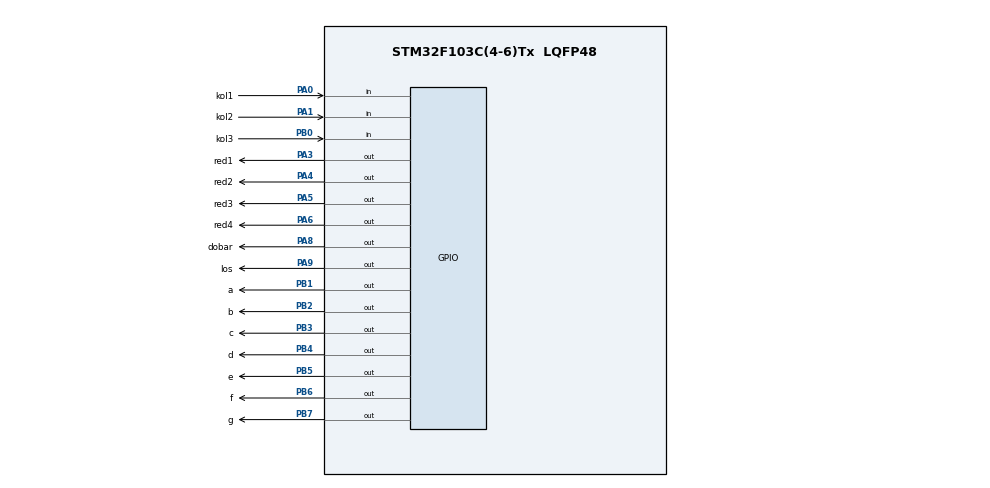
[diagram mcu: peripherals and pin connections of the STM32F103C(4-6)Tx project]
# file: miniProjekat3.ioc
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Mcu.Family=STM32F1
Mcu.Name=STM32F103C(4-6)Tx
Mcu.Package=LQFP48
NVIC.PriorityGroup=NVIC_PRIORITYGROUP_4
PA0-WKUP.GPIO_Label=kol1
PA0-WKUP.Signal=GPIO_Input
PA1.GPIO_Label=kol2
PA1.Signal=GPIO_Input
PA3.GPIO_Label=red1
PA3.Signal=GPIO_Output
PA4.GPIO_Label=red2
PA4.Signal=GPIO_Output
PA5.GPIO_Label=red3
PA5.Signal=GPIO_Output
PA6.GPIO_Label=red4
PA6.Signal=GPIO_Output
PA8.GPIO_Label=dobar
PA8.Signal=GPIO_Output
PA9.GPIO_Label=los
PA9.Signal=GPIO_Output
PB0.GPIO_Label=kol3
PB0.Signal=GPIO_Input
PB1.GPIO_Label=a
PB1.Signal=GPIO_Output
PB2.GPIO_Label=b
PB2.Signal=GPIO_Output
PB3.GPIO_Label=c
PB3.Signal=GPIO_Output
PB4.GPIO_Label=d
PB4.Signal=GPIO_Output
PB5.GPIO_Label=e
PB5.Signal=GPIO_Output
PB6.GPIO_Label=f
PB6.Signal=GPIO_Output
PB7.GPIO_Label=g
PB7.Signal=GPIO_Output
ProjectManager.HeapSize=0x200
ProjectManager.StackSize=0x400
ProjectManager.TargetToolchain=STM32CubeIDE
RCC.APB1Freq_Value=8000000
RCC.APB2Freq_Value=8000000
board=custom

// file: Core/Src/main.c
/* USER CODE BEGIN Header */
/**
  ******************************************************************************
  * @file           : main.c
  * @brief          : Main program body
  ******************************************************************************
  * @attention
  *
  * Copyright (c) 2022 STMicroelectronics.
  * All rights reserved.
  *
  * This software is licensed under terms that can be found in the LICENSE file
  * in the root directory of this software component.
  * If no LICENSE file comes with this software, it is provided AS-IS.
  *
  ******************************************************************************
  */
/* USER CODE END Header */
#include "main.h"
#include "string.h"

void SystemClock_Config(void);
static void MX_GPIO_Init(void);

/* USER CODE BEGIN 0 */

void proveriBroj(char *ispravanBroj, char **unetiBroj)
{

	if(strlen(*unetiBroj) == 2)
	{
		if(strcmp(ispravanBroj,*unetiBroj) == 0)
		{
			HAL_GPIO_WritePin(GPIOA, dobar_Pin, 0);
		}
		else
		{
			HAL_GPIO_WritePin(GPIOA, los_Pin, 0);
		}
	}

	else if (strlen(*unetiBroj) > 2)
	{
		strcpy(*unetiBroj,"");
		GPIOB->ODR = 0xFE;
		HAL_GPIO_WritePin(GPIOA, dobar_Pin, 1);
		HAL_GPIO_WritePin(GPIOA, los_Pin, 1);
		return;
	}
	else
	{
		return;
	}
}

void proveri_unos (char *ispravanBroj, char **unetiBroj)
{
	/* Make ROW 1 HIGH and all other ROWs LOW */
	HAL_GPIO_WritePin (GPIOA, red1_Pin, GPIO_PIN_SET);
	HAL_GPIO_WritePin (GPIOA, red2_Pin, GPIO_PIN_RESET);
	HAL_GPIO_WritePin (GPIOA, red3_Pin, GPIO_PIN_RESET);
	HAL_GPIO_WritePin (GPIOA, red4_Pin, GPIO_PIN_RESET);

	if ((HAL_GPIO_ReadPin (GPIOA, kol1_Pin)))   // if the Col 1 is low
	{
		//1
		GPIOB->ODR = ~0x0C;
		while(HAL_GPIO_ReadPin (GPIOA, kol1_Pin));
		strcat(*unetiBroj,"1");
		proveriBroj(ispravanBroj, unetiBroj);
		return;
	}

	if ((HAL_GPIO_ReadPin (GPIOA, kol2_Pin)))   // if the Col 2 is low
	{
		//2
		HAL_GPIO_WritePin (GPIOA, red1_Pin, GPIO_PIN_RESET);
		HAL_GPIO_WritePin (GPIOA, red2_Pin, GPIO_PIN_SET);
		GPIOB->ODR = ~0xB6;
		while(HAL_GPIO_ReadPin (GPIOA, kol2_Pin));
		strcat(*unetiBroj,"2");
		proveriBroj(ispravanBroj, unetiBroj);
		HAL_GPIO_WritePin (GPIOA, red1_Pin, GPIO_PIN_SET);
		HAL_GPIO_WritePin (GPIOA, red2_Pin, GPIO_PIN_RESET);
		return;
	}

	if ((HAL_GPIO_ReadPin (GPIOB, kol3_Pin)))   // if the Col 3 is low
	{
		//3
		GPIOB->ODR = ~0x9E;
		while(HAL_GPIO_ReadPin (GPIOB, kol3_Pin));
		strcat(*unetiBroj,"3");
		proveriBroj(ispravanBroj, unetiBroj);
		return;
	}

	/* Make ROW 2 LOW and all other ROWs HIGH */
	HAL_GPIO_WritePin (GPIOA, red1_Pin, GPIO_PIN_RESET);  //Pull the R1 low
	HAL_GPIO_WritePin (GPIOA, red2_Pin, GPIO_PIN_SET);  // Pull the R2 High
	HAL_GPIO_WritePin (GPIOA, red3_Pin, GPIO_PIN_RESET);  // Pull the R3 High
	HAL_GPIO_WritePin (GPIOA, red4_Pin, GPIO_PIN_RESET);  // Pull the R4 High

	if ((HAL_GPIO_ReadPin (GPIOA, kol1_Pin)))   // if the Col 1 is low
	{
		//4
		GPIOB->ODR = ~0xCC;
		while(HAL_GPIO_ReadPin (GPIOA, kol1_Pin));
		strcat(*unetiBroj,"4");
		proveriBroj(ispravanBroj, unetiBroj);
		return;

	}

	if ((HAL_GPIO_ReadPin (GPIOA, kol2_Pin)))   // if the Col 2 is low
	{
		GPIOB->ODR = ~0xDA;
		while(HAL_GPIO_ReadPin (GPIOA, kol2_Pin));
		strcat(*unetiBroj,"5");
		proveriBroj(ispravanBroj, unetiBroj);
		return;
	}

	if ((HAL_GPIO_ReadPin (GPIOB, kol3_Pin)))   // if the Col 3 is low
	{
		//6
		GPIOB->ODR = ~0xFA;
		while(HAL_GPIO_ReadPin (GPIOB, kol3_Pin));
		strcat(*unetiBroj,"6");
		proveriBroj(ispravanBroj, unetiBroj);
		return;
	}

	/* Make ROW 3 LOW and all other ROWs HIGH */
	HAL_GPIO_WritePin (GPIOA, red1_Pin, GPIO_PIN_RESET);  //Pull the R1 low
	HAL_GPIO_WritePin (GPIOA, red2_Pin, GPIO_PIN_RESET);  // Pull the R2 High
	HAL_GPIO_WritePin (GPIOA, red3_Pin, GPIO_PIN_SET);  // Pull the R3 High
	HAL_GPIO_WritePin (GPIOA, red4_Pin, GPIO_PIN_RESET);  // Pull the R4 High

	if ((HAL_GPIO_ReadPin (GPIOA, kol1_Pin)))   // if the Col 1 is low
	{
		//7
		GPIOB->ODR = ~0x0E;
		while(HAL_GPIO_ReadPin (GPIOA, kol1_Pin));
		strcat(*unetiBroj,"7");
		proveriBroj(ispravanBroj, unetiBroj);
		return;
	}

	if ((HAL_GPIO_ReadPin (GPIOA, kol2_Pin)))   // if the Col 2 is low
	{
		//8
		GPIOB->ODR = ~0xFD;
		while(HAL_GPIO_ReadPin (GPIOA, kol2_Pin));
		strcat(*unetiBroj,"8");
		proveriBroj(ispravanBroj, unetiBroj);
		return;
	}

	if ((HAL_GPIO_ReadPin (GPIOB, kol3_Pin)))   // if the Col 3 is low
	{
		//9
		GPIOB->ODR = ~0xDE;
		while(HAL_GPIO_ReadPin (GPIOB, kol3_Pin));
		strcat(*unetiBroj,"9");
		proveriBroj(ispravanBroj, unetiBroj);
		return;
	}

	/* Make ROW 4 LOW and all other ROWs HIGH */
	HAL_GPIO_WritePin (GPIOA, red1_Pin, GPIO_PIN_RESET);  //Pull the R1 low
	HAL_GPIO_WritePin (GPIOA, red2_Pin, GPIO_PIN_RESET);  // Pull the R2 High
	HAL_GPIO_WritePin (GPIOA, red3_Pin, GPIO_PIN_RESET);  // Pull the R3 High
	HAL_GPIO_WritePin (GPIOA, red4_Pin, GPIO_PIN_SET);  // Pull the R4 High

	if ((HAL_GPIO_ReadPin (GPIOA, kol1_Pin)))   // if the Col 1 is low
	{
		while(HAL_GPIO_ReadPin (GPIOA, kol1_Pin));
		return;
	}

	if ((HAL_GPIO_ReadPin (GPIOA, kol2_Pin)))   // if the Col 2 is low
	{
		while(HAL_GPIO_ReadPin (GPIOA, kol2_Pin));
		return;
	}

	if ((HAL_GPIO_ReadPin (GPIOB, kol3_Pin)))   // if the Col 3 is low
	{

		while(HAL_GPIO_ReadPin (GPIOB, kol3_Pin));
		return;
	}

}

/* USER CODE END 0 */

int main(void)
{

  /* MCU Configuration--------------------------------------------------------*/

  /* Reset of all peripherals, Initializes the Flash interface and the Systick. */
  HAL_Init();

  /* Configure the system clock */
  SystemClock_Config();

  /* Initialize all configured peripherals */
  MX_GPIO_Init();
  /* USER CODE BEGIN 2 */
  char ispravanBroj[2] = "73";
  char *unetiBroj;

  /* USER CODE END 2 */

  /* Infinite loop */
  while (1)
  {
	  proveri_unos(ispravanBroj, &unetiBroj);
  }
}
void SystemClock_Config(void)
{
  RCC_OscInitTypeDef RCC_OscInitStruct = {0};
  RCC_ClkInitTypeDef RCC_ClkInitStruct = {0};

  /** Initializes the RCC Oscillators according to the specified parameters
  * in the RCC_OscInitTypeDef structure.
  */
  RCC_OscInitStruct.OscillatorType = RCC_OSCILLATORTYPE_HSI;
  RCC_OscInitStruct.HSIState = RCC_HSI_ON;
  RCC_OscInitStruct.HSICalibrationValue = RCC_HSICALIBRATION_DEFAULT;
  RCC_OscInitStruct.PLL.PLLState = RCC_PLL_NONE;
  if (HAL_RCC_OscConfig(&RCC_OscInitStruct) != HAL_OK)
  {
    Error_Handler();
  }

  /** Initializes the CPU, AHB and APB buses clocks
  */
  RCC_ClkInitStruct.ClockType = RCC_CLOCKTYPE_HCLK|RCC_CLOCKTYPE_SYSCLK
                              |RCC_CLOCKTYPE_PCLK1|RCC_CLOCKTYPE_PCLK2;
  RCC_ClkInitStruct.SYSCLKSource = RCC_SYSCLKSOURCE_HSI;
  RCC_ClkInitStruct.AHBCLKDivider = RCC_SYSCLK_DIV1;
  RCC_ClkInitStruct.APB1CLKDivider = RCC_HCLK_DIV1;
  RCC_ClkInitStruct.APB2CLKDivider = RCC_HCLK_DIV1;

  if (HAL_RCC_ClockConfig(&RCC_ClkInitStruct, FLASH_LATENCY_0) != HAL_OK)
  {
    Error_Handler();
  }
}

static void MX_GPIO_Init(void)
{
  GPIO_InitTypeDef GPIO_InitStruct = {0};

  /* GPIO Ports Clock Enable */
  __HAL_RCC_GPIOA_CLK_ENABLE();
  __HAL_RCC_GPIOB_CLK_ENABLE();

  /*Configure GPIO pin Output Level */
  HAL_GPIO_WritePin(GPIOA, dobar_Pin|los_Pin, GPIO_PIN_SET);

  HAL_GPIO_WritePin(GPIOA, red1_Pin|red2_Pin|red3_Pin|red4_Pin, GPIO_PIN_RESET);

  /*Configure GPIO pin Output Level */
  HAL_GPIO_WritePin(GPIOB, a_Pin|b_Pin|c_Pin|d_Pin
                          |e_Pin|f_Pin|g_Pin, GPIO_PIN_SET);

  /*Configure GPIO pins : kol1_Pin kol2_Pin */
  GPIO_InitStruct.Pin = kol1_Pin|kol2_Pin;
  GPIO_InitStruct.Mode = GPIO_MODE_INPUT;
  GPIO_InitStruct.Pull = GPIO_NOPULL;
  HAL_GPIO_Init(GPIOA, &GPIO_InitStruct);

  /*Configure GPIO pins : red1_Pin red2_Pin red3_Pin red4_Pin
                           dobar_Pin los_Pin */
  GPIO_InitStruct.Pin = red1_Pin|red2_Pin|red3_Pin|red4_Pin
                          |dobar_Pin|los_Pin;
  GPIO_InitStruct.Mode = GPIO_MODE_OUTPUT_PP;
  GPIO_InitStruct.Pull = GPIO_NOPULL;
  GPIO_InitStruct.Speed = GPIO_SPEED_FREQ_LOW;
  HAL_GPIO_Init(GPIOA, &GPIO_InitStruct);

  /*Configure GPIO pin : kol3_Pin */
  GPIO_InitStruct.Pin = kol3_Pin;
  GPIO_InitStruct.Mode = GPIO_MODE_INPUT;
  GPIO_InitStruct.Pull = GPIO_NOPULL;
  HAL_GPIO_Init(kol3_GPIO_Port, &GPIO_InitStruct);

  /*Configure GPIO pins : a_Pin b_Pin c_Pin d_Pin
                           e_Pin f_Pin g_Pin */
  GPIO_InitStruct.Pin = a_Pin|b_Pin|c_Pin|d_Pin
                          |e_Pin|f_Pin|g_Pin;
  GPIO_InitStruct.Mode = GPIO_MODE_OUTPUT_PP;
  GPIO_InitStruct.Pull = GPIO_NOPULL;
  GPIO_InitStruct.Speed = GPIO_SPEED_FREQ_LOW;
  HAL_GPIO_Init(GPIOB, &GPIO_InitStruct);

}

void Error_Handler(void)
{
  __disable_irq();
  while (1)
  {
  }
}
